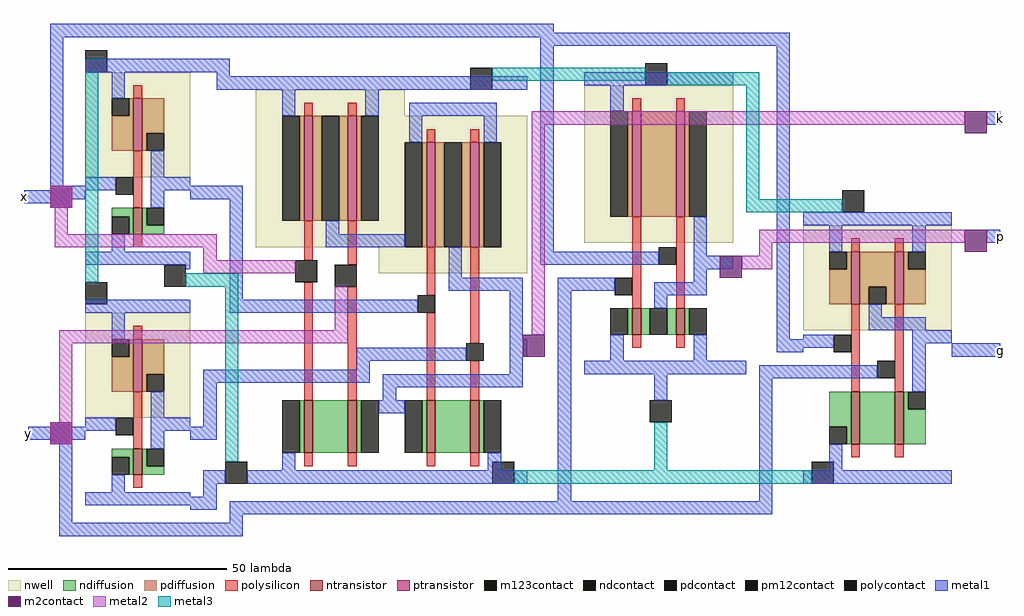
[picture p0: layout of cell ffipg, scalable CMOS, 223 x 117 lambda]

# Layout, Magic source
magic
tech scmos
<< metal1 >>
rect 469 170 470 173
rect 247 152 249 155
rect 469 143 470 146
rect 469 117 470 120
rect 248 98 249 101
use pggen  pggen_0
transform 1 0 250 0 1 82
box -1 -6 219 111
<< labels >>
rlabel metal1 470 170 470 173 7 k
rlabel metal1 470 117 470 120 7 g
rlabel metal1 470 143 470 146 7 p
rlabel metal1 247 152 247 155 3 x
rlabel metal1 248 98 248 101 3 y
<< end >>

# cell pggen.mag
magic
tech scmos
<< metal1 >>
rect 3 109 118 111
rect 3 108 172 109
rect 3 74 6 108
rect 115 106 172 108
rect -1 70 0 73
rect 3 69 8 74
rect 115 59 118 106
rect 115 56 125 59
rect 119 50 125 53
rect -1 16 0 19
rect 3 15 8 20
rect 5 -3 8 15
rect 119 2 122 50
rect 169 39 172 106
rect 217 88 219 91
rect 217 61 219 64
rect 169 36 175 39
rect 209 35 219 38
rect 159 31 162 34
rect 141 25 144 31
rect 165 30 175 33
rect 165 2 168 30
rect 44 -1 168 2
rect 44 -3 47 -1
rect 5 -6 47 -3
<< m2contact >>
rect 156 53 161 58
rect 111 35 116 40
rect 212 86 217 91
rect 212 59 217 64
<< metal2 >>
rect 113 88 212 91
rect 3 69 8 74
rect 113 40 116 88
rect 165 61 212 64
rect 165 58 168 61
rect 161 55 168 58
rect 3 15 8 20
<< m123contact >>
rect 99 96 104 101
rect 139 97 144 102
rect 184 68 189 73
rect 140 20 145 25
rect 104 6 109 11
rect 177 6 182 11
<< metal3 >>
rect 104 98 139 101
rect 144 97 165 100
rect 162 71 165 97
rect 162 68 184 71
rect 141 9 144 20
rect 109 6 177 9
use xor  xor_0
transform 1 0 53 0 1 56
box -53 -56 59 49
use nor  nor_0
transform 1 0 125 0 1 61
box 0 -30 34 39
use nand  nand_0
transform 1 0 175 0 1 41
box 0 -35 34 27
<< labels >>
rlabel metal1 219 35 219 38 7 g
rlabel metal1 219 61 219 64 7 p
rlabel metal1 219 88 219 91 7 k
rlabel metal1 -1 70 -1 73 3 x
rlabel metal1 -1 16 -1 19 3 y
<< end >>

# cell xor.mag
magic
tech scmos
<< nwell >>
rect -3 34 31 40
rect -3 4 59 34
rect 25 -2 59 4
<< ntransistor >>
rect 8 -43 10 -31
rect 18 -43 20 -31
rect 36 -43 38 -31
rect 46 -43 48 -31
<< ptransistor >>
rect 8 10 10 34
rect 18 10 20 34
rect 36 4 38 28
rect 46 4 48 28
<< ndiffusion >>
rect 7 -43 8 -31
rect 10 -43 18 -31
rect 20 -43 21 -31
rect 35 -43 36 -31
rect 38 -43 46 -31
rect 48 -43 49 -31
<< pdiffusion >>
rect 7 10 8 34
rect 10 10 12 34
rect 16 10 18 34
rect 20 10 21 34
rect 35 4 36 28
rect 38 4 40 28
rect 44 4 46 28
rect 48 4 49 28
<< ndcontact >>
rect 3 -43 7 -31
rect 21 -43 25 -31
rect 31 -43 35 -31
rect 49 -43 53 -31
<< pdcontact >>
rect 3 10 7 34
rect 12 10 16 34
rect 21 10 25 34
rect 31 4 35 28
rect 40 4 44 28
rect 49 4 53 28
<< polysilicon >>
rect 8 34 10 37
rect 18 34 20 37
rect 36 28 38 31
rect 46 28 48 31
rect 8 1 10 10
rect 18 0 20 10
rect 8 -31 10 -4
rect 18 -31 20 -5
rect 36 -7 38 4
rect 36 -31 38 -11
rect 46 -18 48 4
rect 46 -31 48 -22
rect 8 -46 10 -43
rect 18 -46 20 -43
rect 36 -46 38 -43
rect 46 -46 48 -43
<< polycontact >>
rect 34 -11 38 -7
rect 45 -22 49 -18
<< metal1 >>
rect -18 44 -9 47
rect -12 43 -9 44
rect -12 40 59 43
rect 3 34 6 40
rect 22 34 25 40
rect -53 14 -50 17
rect -45 15 -42 18
rect -18 15 -6 18
rect -19 -1 -18 0
rect -9 -8 -6 15
rect 32 34 52 37
rect 32 28 35 34
rect 49 28 52 34
rect 13 7 16 10
rect 13 4 31 7
rect 41 -3 44 4
rect 41 -6 58 -3
rect -9 -11 34 -8
rect 55 -17 58 -6
rect 20 -22 45 -19
rect 55 -21 59 -17
rect 20 -24 23 -22
rect -15 -27 23 -24
rect 55 -25 58 -21
rect -53 -40 -50 -37
rect -15 -37 -12 -27
rect 26 -28 58 -25
rect 26 -31 29 -28
rect -45 -40 -42 -37
rect -18 -40 -12 -37
rect 25 -34 31 -31
rect -15 -50 -10 -47
rect 3 -47 6 -43
rect 50 -47 53 -43
rect -5 -50 59 -47
rect -15 -53 -12 -50
rect -18 -56 -12 -53
<< m2contact >>
rect -50 13 -45 18
rect -50 -41 -45 -36
<< pm12contact >>
rect 6 -4 11 1
rect 15 -5 20 0
<< metal2 >>
rect -49 7 -46 13
rect -49 4 -12 7
rect -15 1 -12 4
rect -15 -2 6 1
rect 15 -15 18 -5
rect -48 -18 18 -15
rect -48 -36 -45 -18
<< m123contact >>
rect -42 44 -37 49
rect -42 -9 -37 -4
rect -24 -5 -19 0
rect -10 -50 -5 -45
<< metal3 >>
rect -42 -4 -39 44
rect -19 -5 -7 -2
rect -10 -45 -7 -5
use inv  inv_0
transform 1 0 -42 0 1 14
box 0 -15 24 33
use inv  inv_1
transform 1 0 -42 0 1 -41
box 0 -15 24 33
<< labels >>
rlabel metal1 28 -49 28 -49 1 gnd!
rlabel metal1 27 42 27 42 5 vdd!
rlabel metal1 59 -21 59 -17 7 op
rlabel metal1 -10 41 -10 41 1 vdd!
rlabel metal1 -11 -49 -11 -49 1 gnd!
rlabel metal1 -53 -40 -53 -37 3 b
rlabel metal1 -53 14 -53 17 3 a
<< end >>

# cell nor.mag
magic
tech scmos
<< nwell >>
rect 0 0 34 36
<< ntransistor >>
rect 11 -21 13 -15
rect 21 -21 23 -15
<< ptransistor >>
rect 11 6 13 30
rect 21 6 23 30
<< ndiffusion >>
rect 10 -21 11 -15
rect 13 -21 15 -15
rect 19 -21 21 -15
rect 23 -21 24 -15
<< pdiffusion >>
rect 10 6 11 30
rect 13 6 21 30
rect 23 6 24 30
<< ndcontact >>
rect 6 -21 10 -15
rect 15 -21 19 -15
rect 24 -21 28 -15
<< pdcontact >>
rect 6 6 10 30
rect 24 6 28 30
<< polysilicon >>
rect 11 30 13 33
rect 21 30 23 33
rect 11 -15 13 6
rect 21 -15 23 6
rect 11 -24 13 -21
rect 21 -24 23 -21
<< polycontact >>
rect 7 -12 11 -8
rect 17 -5 21 -1
<< metal1 >>
rect 0 36 34 39
rect 6 30 9 36
rect 0 -5 17 -2
rect 25 -3 28 6
rect 25 -6 34 -3
rect 0 -11 7 -8
rect 25 -9 28 -6
rect 16 -12 28 -9
rect 16 -15 19 -12
rect 6 -27 9 -21
rect 25 -27 28 -21
rect 0 -30 34 -27
<< labels >>
rlabel metal1 18 37 18 37 5 vdd!
rlabel metal1 34 -6 34 -3 7 out
rlabel metal1 21 -28 21 -28 1 gnd!
rlabel metal1 0 -5 0 -2 3 b
rlabel metal1 0 -11 0 -8 3 a
<< end >>

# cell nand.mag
magic
tech scmos
<< nwell >>
rect 0 0 34 24
<< ntransistor >>
rect 11 -26 13 -14
rect 21 -26 23 -14
<< ptransistor >>
rect 11 6 13 18
rect 21 6 23 18
<< ndiffusion >>
rect 6 -22 11 -14
rect 10 -26 11 -22
rect 13 -26 21 -14
rect 23 -18 24 -14
rect 23 -26 28 -18
<< pdiffusion >>
rect 10 14 11 18
rect 6 6 11 14
rect 13 10 21 18
rect 13 6 15 10
rect 19 6 21 10
rect 23 14 24 18
rect 23 6 28 14
<< ndcontact >>
rect 6 -26 10 -22
rect 24 -18 28 -14
<< pdcontact >>
rect 6 14 10 18
rect 15 6 19 10
rect 24 14 28 18
<< polysilicon >>
rect 11 18 13 21
rect 21 18 23 21
rect 11 -14 13 6
rect 21 -14 23 6
rect 11 -29 13 -26
rect 21 -29 23 -26
<< polycontact >>
rect 7 -5 11 -1
rect 17 -11 21 -7
<< metal1 >>
rect 0 24 34 27
rect 6 18 9 24
rect 25 18 28 24
rect 15 3 18 6
rect 15 0 28 3
rect 0 -4 7 -1
rect 25 -3 34 0
rect 0 -11 17 -8
rect 25 -14 28 -3
rect 6 -32 9 -26
rect 0 -35 34 -32
<< labels >>
rlabel metal1 24 26 24 26 5 vdd!
rlabel metal1 24 -34 24 -34 1 gnd!
rlabel metal1 0 -11 0 -8 3 b
rlabel metal1 0 -4 0 -1 3 a
rlabel metal1 34 -3 34 0 7 out
<< end >>

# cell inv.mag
magic
tech scmos
<< nwell >>
rect 0 6 24 30
<< ntransistor >>
rect 11 -7 13 -1
<< ptransistor >>
rect 11 12 13 24
<< ndiffusion >>
rect 6 -3 11 -1
rect 10 -7 11 -3
rect 13 -5 14 -1
rect 13 -7 18 -5
<< pdiffusion >>
rect 10 20 11 24
rect 6 12 11 20
rect 13 16 18 24
rect 13 12 14 16
<< ndcontact >>
rect 6 -7 10 -3
rect 14 -5 18 -1
<< pdcontact >>
rect 6 20 10 24
rect 14 12 18 16
<< polysilicon >>
rect 11 24 13 27
rect 11 -1 13 12
rect 11 -10 13 -7
<< polycontact >>
rect 7 2 11 6
<< metal1 >>
rect 0 30 24 33
rect 6 24 9 30
rect 15 6 18 12
rect 0 3 7 6
rect 15 3 24 6
rect 15 -1 18 3
rect 6 -11 9 -7
rect 0 -14 24 -11
<< labels >>
rlabel metal1 14 31 14 31 5 vdd!
rlabel metal1 24 3 24 6 7 op
rlabel metal1 0 3 0 6 3 in
rlabel metal1 20 -13 20 -13 1 gnd!
<< end >>
